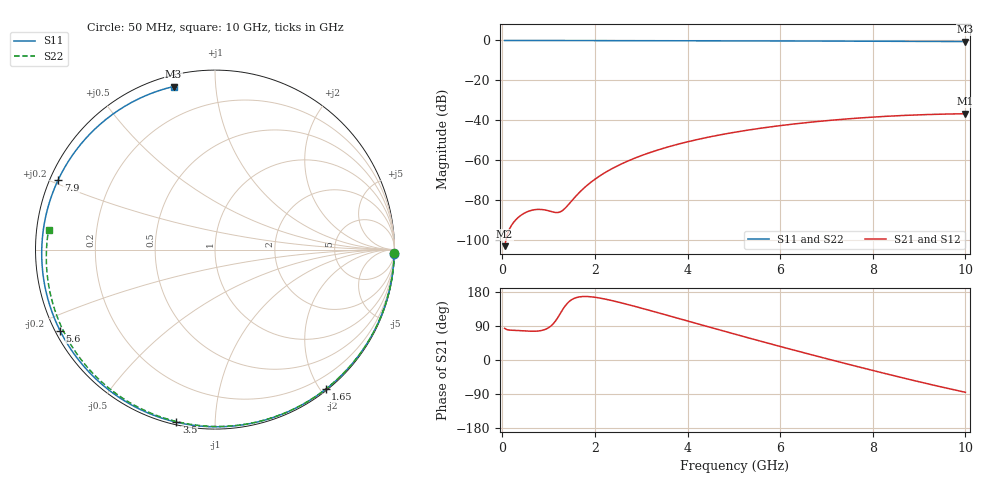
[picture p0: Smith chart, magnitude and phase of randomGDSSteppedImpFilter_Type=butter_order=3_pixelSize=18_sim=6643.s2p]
! freq	dB(S11)	phase(S11)	dB(S12)	phase(S12)
!  dB(S21)	phase(S21)	dB(S22)	phase(S22)
!S-par simulation data
#  GHz  S  DB  R 50
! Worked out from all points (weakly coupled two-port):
!   200 points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, 50 MHz to 10 GHz, reference 50 ohm
!   highest |S21| = -36.68 dB at 10 GHz (marker M1); lowest = -102.9 dB at 50 MHz (marker M2)
!   lowest |S11| = -0.6 dB at 10 GHz (marker M3), VSWR 30.98, Z = 2.59 + j38.8 ohm
!   |S11| at or under -10 dB: nowhere
!   |S22| runs from -0.6 to 0.0 dB; largest |S21 - S12| = 0
!   S11 on the Smith chart (normalised r, x): 50 MHz: 3, -74; 1.65 GHz: 0.02, -2.07; 3.5 GHz: 0.01, -0.80; 5.6 GHz: 0.01, -0.25; 7.9 GHz: 0.02, +0.21; 10 GHz: 0.05, +0.78
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0.05  -0.01 -1.5  -102.94 83.6  -102.94 83.6  -0.00 -1.0
0.4  -0.02 -12.8  -87.53 77.4  -87.53 77.4  -0.01 -8.5
0.75  -0.03 -23.9  -84.57 76.3  -84.57 76.3  -0.02 -15.9
1.1  -0.04 -34.9  -85.87 95.5  -85.87 95.5  -0.03 -23.3
1.5  -0.06 -47.1  -80.22 159.3  -80.22 159.3  -0.04 -31.6
1.65  -0.06 -51.6  -76.41 166.2  -76.41 166.2  -0.04 -34.7
1.75  -0.07 -54.6  -74.16 167.6  -74.16 167.6  -0.05 -36.7
2.05  -0.08 -63.3  -68.64 164.6  -68.64 164.6  -0.05 -42.8
2.45  -0.09 -74.7  -63.18 154.4  -63.18 154.4  -0.07 -50.9
2.9  -0.11 -87.0  -58.54 140.3  -58.54 140.3  -0.08 -59.8
3.4  -0.12 -100.1  -54.52 123.5  -54.52 123.5  -0.09 -69.4
3.5  -0.13 -102.7  -53.82 120.1  -53.82 120.1  -0.09 -71.3
4.25  -0.16 -121.2  -49.39 94.4  -49.39 94.4  -0.12 -85.3
5.05  -0.19 -139.9  -45.82 67.3  -45.82 67.3  -0.15 -99.8
5.6  -0.22 -152.4  -43.86 48.9  -43.86 48.9  -0.18 -109.5
6.15  -0.26 -164.7  -42.20 30.8  -42.20 30.8  -0.21 -119.0
6.7  -0.30 -176.9  -40.81 13.1  -40.81 13.1  -0.25 -128.4
7.3  -0.34 169.6  -39.54 -5.9  -39.54 -5.9  -0.30 -138.6
7.9  -0.39 155.9  -38.51 -24.6  -38.51 -24.6  -0.35 -148.9
8.35  -0.43 145.4  -37.89 -38.2  -37.89 -38.2  -0.39 -156.7
9.25  -0.50 123.5  -37.04 -64.6  -37.04 -64.6  -0.50 -172.7
10  -0.56 104.2  -36.68 -85.2  -36.68 -85.2  -0.59 173.2
